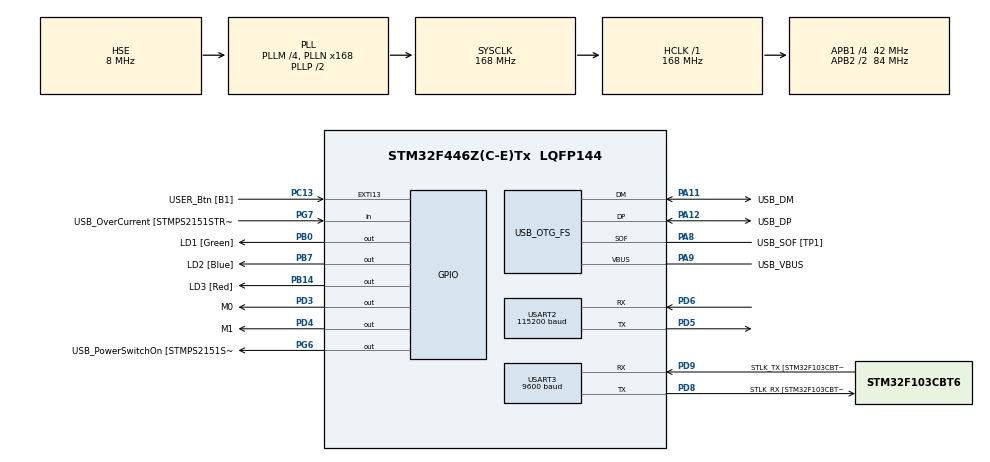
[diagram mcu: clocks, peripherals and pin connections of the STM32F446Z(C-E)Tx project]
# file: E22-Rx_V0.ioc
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Dma.Request0=USART2_RX
Dma.Request1=USART2_TX
Dma.USART2_RX.0.Direction=DMA_PERIPH_TO_MEMORY
Dma.USART2_RX.0.FIFOMode=DMA_FIFOMODE_DISABLE
Dma.USART2_RX.0.Instance=DMA1_Stream5
Dma.USART2_RX.0.MemDataAlignment=DMA_MDATAALIGN_BYTE
Dma.USART2_RX.0.MemInc=DMA_MINC_ENABLE
Dma.USART2_RX.0.Mode=DMA_NORMAL
Dma.USART2_RX.0.PeriphDataAlignment=DMA_PDATAALIGN_BYTE
Dma.USART2_RX.0.PeriphInc=DMA_PINC_DISABLE
Dma.USART2_RX.0.Priority=DMA_PRIORITY_LOW
Dma.USART2_TX.1.Direction=DMA_MEMORY_TO_PERIPH
Dma.USART2_TX.1.FIFOMode=DMA_FIFOMODE_DISABLE
Dma.USART2_TX.1.Instance=DMA1_Stream6
Dma.USART2_TX.1.MemDataAlignment=DMA_MDATAALIGN_BYTE
Dma.USART2_TX.1.MemInc=DMA_MINC_ENABLE
Dma.USART2_TX.1.Mode=DMA_NORMAL
Dma.USART2_TX.1.PeriphDataAlignment=DMA_PDATAALIGN_BYTE
Dma.USART2_TX.1.PeriphInc=DMA_PINC_DISABLE
Dma.USART2_TX.1.Priority=DMA_PRIORITY_LOW
Mcu.Family=STM32F4
Mcu.Name=STM32F446Z(C-E)Tx
Mcu.Package=LQFP144
NVIC.DMA1_Stream5_IRQn=true\:0\:0\:false\:false\:true\:false\:true\:true
NVIC.DMA1_Stream6_IRQn=true\:0\:0\:false\:false\:true\:false\:true\:true
NVIC.PriorityGroup=NVIC_PRIORITYGROUP_4
NVIC.USART2_IRQn=true\:0\:0\:false\:false\:true\:true\:true\:true
PA10.GPIO_Label=USB_ID
PA10.Signal=USB_OTG_FS_ID
PA11.GPIO_Label=USB_DM
PA11.Mode=Device_Only
PA11.Signal=USB_OTG_FS_DM
PA12.GPIO_Label=USB_DP
PA12.Mode=Device_Only
PA12.Signal=USB_OTG_FS_DP
PA13.GPIO_Label=TMS
PA13.Mode=Serial_Wire
PA13.Signal=SYS_JTMS-SWDIO
PA14.GPIO_Label=TCK
PA14.Mode=Serial_Wire
PA14.Signal=SYS_JTCK-SWCLK
PA8.GPIO_Label=USB_SOF [TP1]
PA8.Mode=Activate_SOF_FS
PA8.Signal=USB_OTG_FS_SOF
PA9.GPIO_Label=USB_VBUS
PA9.Mode=Activate_VBUS
PA9.Signal=USB_OTG_FS_VBUS
PB0.GPIO_Label=LD1 [Green]
PB0.Signal=GPIO_Output
PB14.GPIO_Label=LD3 [Red]
PB14.Signal=GPIO_Output
PB7.GPIO_Label=LD2 [Blue]
PB7.Signal=GPIO_Output
PC13.GPIO_Label=USER_Btn [B1]
PC13.Signal=GPXTI13
PC14-OSC32_IN.Mode=LSE-External-Oscillator
PC14-OSC32_IN.Signal=RCC_OSC32_IN
PC15-OSC32_OUT.Mode=LSE-External-Oscillator
PC15-OSC32_OUT.Signal=RCC_OSC32_OUT
PD3.GPIO_Label=M0
PD3.Signal=GPIO_Output
PD4.GPIO_Label=M1
PD4.Signal=GPIO_Output
PD5.Mode=Asynchronous
PD5.Signal=USART2_TX
PD6.Mode=Asynchronous
PD6.Signal=USART2_RX
PD8.GPIO_Label=STLK_RX [STM32F103CBT6_PA3]
PD8.Mode=Asynchronous
PD8.Signal=USART3_TX
PD9.GPIO_Label=STLK_TX [STM32F103CBT6_PA2]
PD9.Mode=Asynchronous
PD9.Signal=USART3_RX
PG6.GPIO_Label=USB_PowerSwitchOn [STMPS2151STR_EN]
PG6.Signal=GPIO_Output
PG7.GPIO_Label=USB_OverCurrent [STMPS2151STR_FAULT]
PG7.Signal=GPIO_Input
PH0-OSC_IN.GPIO_Label=MCO [STM32F103CBT6_PA8]
PH0-OSC_IN.Mode=HSE-External-Clock-Source
PH0-OSC_IN.Signal=RCC_OSC_IN
PH1-OSC_OUT.Mode=HSE-External-Clock-Source
PH1-OSC_OUT.Signal=RCC_OSC_OUT
ProjectManager.HeapSize=0x200
ProjectManager.StackSize=0x400
ProjectManager.TargetToolchain=STM32CubeIDE
RCC.48MHZClocksFreq_Value=24000000
RCC.AHBFreq_Value=168000000
RCC.APB1CLKDivider=RCC_HCLK_DIV4
RCC.APB1Freq_Value=42000000
RCC.APB1TimFreq_Value=84000000
RCC.APB2CLKDivider=RCC_HCLK_DIV2
RCC.APB2Freq_Value=84000000
RCC.APB2TimFreq_Value=168000000
RCC.CortexFreq_Value=168000000
RCC.HCLKFreq_Value=168000000
RCC.HSE_VALUE=8000000
RCC.HSI_VALUE=16000000
RCC.PLLM=4
RCC.PLLMUL=RCC_PLL_MUL9
RCC.PLLN=168
RCC.PLLQ=7
RCC.PRESCALERUSB=RCC_USBCLKSOURCE_PLL_DIV1_5
RCC.SYSCLKFreq_VALUE=168000000
RCC.SYSCLKSource=RCC_SYSCLKSOURCE_PLLCLK
RCC.SYSCLKSourceVirtual=RCC_SYSCLKSOURCE_PLLCLK
RCC.USBFreq_Value=48000000
RCC.VCOOutputFreq_Value=336000000
USART2.BaudRate=115200
USART2.VirtualMode=VM_ASYNC
USART3.BaudRate=9600
USART3.VirtualMode=VM_ASYNC
USB_OTG_FS.VirtualMode=Device_Only
VP_RTC_VS_RTC_Activate.Mode=RTC_Enabled
board=NUCLEO-F446ZE

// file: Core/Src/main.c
/* USER CODE BEGIN Header */
/**
  ******************************************************************************
  * @file           : main.c
  * @brief          : Main program body
  ******************************************************************************
  * @attention
  *
  * Copyright (c) 2025 STMicroelectronics.
  * All rights reserved.
  *
  * This software is licensed under terms that can be found in the LICENSE file
  * in the root directory of this software component.
  * If no LICENSE file comes with this software, it is provided AS-IS.
  *
  ******************************************************************************
  */
/* USER CODE END Header */
#include "main.h"
#include "dma.h"
#include "rtc.h"
#include "usart.h"
#include "usb_otg.h"
#include "gpio.h"

/* USER CODE BEGIN Includes */
#include "e22900t22d.h"
#include <stdio.h>
#include <string.h>
/* USER CODE END Includes */

/* USER CODE BEGIN PTD */
int _write(int file, char *ptr, int len) {
	for (int idx = 0; idx < len; idx++) {
			while(!(USART3 -> SR & USART_SR_TXE));
			USART3->DR = (uint8_t)ptr[idx];
	}
	return len;
}

RTC_TimeTypeDef sTime;
RTC_DateTypeDef sDate;

void get_timestamp_string(char *timestamp_str, uint32_t max_len)
{
  // Get current time and date from RTC
  HAL_RTC_GetTime(&hrtc, &sTime, RTC_FORMAT_BIN);
  HAL_RTC_GetDate(&hrtc, &sDate, RTC_FORMAT_BIN); // This is necessary after HAL_RTC_GetTime

  // Format the timestamp string as "YYYY-MM-DD HH:MM:SS"
  snprintf(timestamp_str, max_len, "%02d:%02d:%02d",
           sTime.Hours, sTime.Minutes, sTime.Seconds);
}
/* USER CODE END PTD */

void SystemClock_Config(void);
/* USER CODE BEGIN PFP */
static void main_e22_transceiverMode(void);
static void main_e22_configurationMode(void);
// This callback is the core of the receiver.
static void main_lora_packet_receive(uint8_t* dataPacket, uint8_t size);
/* USER CODE END PFP */

int main(void)
{

  /* MCU Configuration--------------------------------------------------------*/

  /* Reset of all peripherals, Initializes the Flash interface and the Systick. */
  HAL_Init();

  /* Configure the system clock */
  SystemClock_Config();

  /* Initialize all configured peripherals */
  MX_GPIO_Init();
  MX_DMA_Init();
  MX_USART3_UART_Init();
  MX_USB_OTG_FS_PCD_Init();
  MX_USART2_UART_Init();
  MX_RTC_Init();
  /* USER CODE BEGIN 2 */
  printf("--- LoRa Receiver Initialized ---\r\n");
    printf("Listening for packets...\r\n");

    // Initialize the E22 LoRa module driver
    e22_lora_init(&huart2,
                  HAL_UART_Transmit_DMA,
                  HAL_UARTEx_ReceiveToIdle_DMA,
                  main_lora_packet_receive,
                  main_e22_configurationMode,
                  main_e22_transceiverMode);
  /* USER CODE END 2 */

  /* Infinite loop */
  while (1)
  {

    /* USER CODE BEGIN 3 */
	  // The manager must run to process the incoming reception buffer.
	      e22_lora_manager();

	      // The receiver does not actively transmit, it just waits.
	      // A small delay prevents the CPU from spinning at 100%.
	      HAL_Delay(50);
  }
  /* USER CODE END 3 */
}

void SystemClock_Config(void)
{
  RCC_OscInitTypeDef RCC_OscInitStruct = {0};
  RCC_ClkInitTypeDef RCC_ClkInitStruct = {0};

  /** Configure the main internal regulator output voltage
  */
  __HAL_RCC_PWR_CLK_ENABLE();
  __HAL_PWR_VOLTAGESCALING_CONFIG(PWR_REGULATOR_VOLTAGE_SCALE1);

  /** Initializes the RCC Oscillators according to the specified parameters
  * in the RCC_OscInitTypeDef structure.
  */
  RCC_OscInitStruct.OscillatorType = RCC_OSCILLATORTYPE_LSI|RCC_OSCILLATORTYPE_HSE;
  RCC_OscInitStruct.HSEState = RCC_HSE_BYPASS;
  RCC_OscInitStruct.LSEState = RCC_LSE_ON;
  RCC_OscInitStruct.LSIState = RCC_LSI_ON;
  RCC_OscInitStruct.PLL.PLLState = RCC_PLL_ON;
  RCC_OscInitStruct.PLL.PLLSource = RCC_PLLSOURCE_HSE;
  RCC_OscInitStruct.PLL.PLLM = 4;
  RCC_OscInitStruct.PLL.PLLN = 168;
  RCC_OscInitStruct.PLL.PLLP = RCC_PLLP_DIV2;
  RCC_OscInitStruct.PLL.PLLQ = 7;
  RCC_OscInitStruct.PLL.PLLR = 2;
  if (HAL_RCC_OscConfig(&RCC_OscInitStruct) != HAL_OK)
  {
    Error_Handler();
  }

  /** Initializes the CPU, AHB and APB buses clocks
  */
  RCC_ClkInitStruct.ClockType = RCC_CLOCKTYPE_HCLK|RCC_CLOCKTYPE_SYSCLK
                              |RCC_CLOCKTYPE_PCLK1|RCC_CLOCKTYPE_PCLK2;
  RCC_ClkInitStruct.SYSCLKSource = RCC_SYSCLKSOURCE_PLLCLK;
  RCC_ClkInitStruct.AHBCLKDivider = RCC_SYSCLK_DIV1;
  RCC_ClkInitStruct.APB1CLKDivider = RCC_HCLK_DIV4;
  RCC_ClkInitStruct.APB2CLKDivider = RCC_HCLK_DIV2;

  if (HAL_RCC_ClockConfig(&RCC_ClkInitStruct, FLASH_LATENCY_5) != HAL_OK)
  {
    Error_Handler();
  }
}

/* USER CODE BEGIN 4 */
void HAL_UART_TxCpltCallback(UART_HandleTypeDef *huart)
{
    // Not used in receiver mode, but good practice to keep the skeleton.
    if(huart->Instance == USART2)
    {
        e22_lora_make_ready();
    }
}

/**
 * @brief This callback is the entry point for all received data.
 * It's fired when the UART line goes idle after receiving data.
 */
void HAL_UARTEx_RxEventCallback(UART_HandleTypeDef *huart, uint16_t Size)
{
    if(huart->Instance == USART2)
    {
        // Notify the LoRa driver that a packet of 'Size' bytes has been received.
        e22_lora_reception_complete(Size);
    }
}

/**
 * @brief Sets the LoRa module to its default transparent transmission mode.
 */
static void main_e22_transceiverMode(void)
{
	HAL_GPIO_WritePin(GPIOB, M0_Pin|M1_Pin, GPIO_PIN_RESET);
}

/**
 * @brief Sets the LoRa module to configuration mode.
 */
static void main_e22_configurationMode(void)
{
	HAL_GPIO_WritePin(GPIOB, M0_Pin, GPIO_PIN_RESET);
	HAL_GPIO_WritePin(GPIOB, M1_Pin, GPIO_PIN_SET);
}

/**
 * @brief This is the application-level function to handle a fully received packet.
 */
static void main_lora_packet_receive(uint8_t* dataPacket, uint8_t size)
{
	// Create a local buffer to safely handle the data.
	// Add 1 for a null terminator to print safely as a string.
	uint8_t loraPacket[MAX_DATA_PACKET_SIZE + 1] = {0};

	// Copy data to the local buffer.
	memcpy(loraPacket, dataPacket, size);

	// Null-terminate the string.
	loraPacket[size] = '\0';

	char timestamp[24];
	get_timestamp_string(timestamp, sizeof(timestamp));

	// Print the received data and its size to the serial monitor.
	printf("PACKET RECEIVED! (Size: %d) -> \"%s\" %-8s\r\n", size, loraPacket, timestamp);
}
/* USER CODE END 4 */

void Error_Handler(void)
{
  __disable_irq();
  while (1)
  {
  }
}
